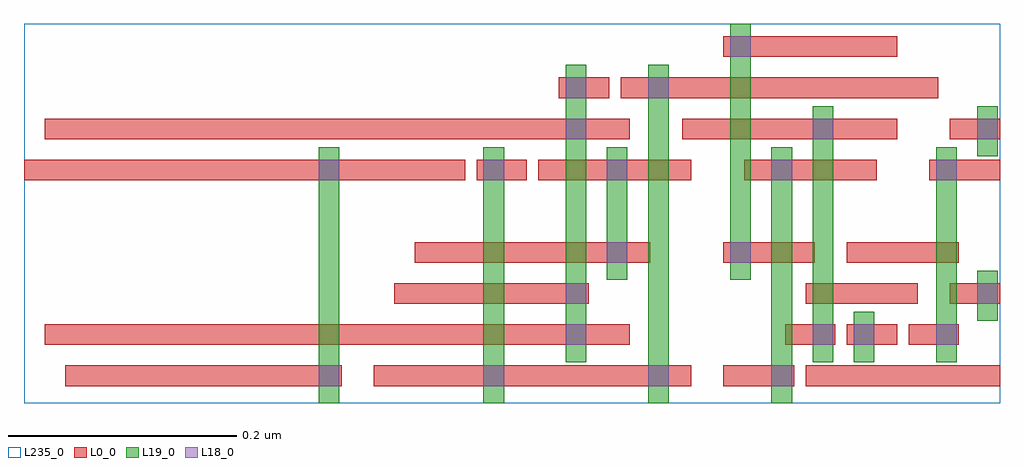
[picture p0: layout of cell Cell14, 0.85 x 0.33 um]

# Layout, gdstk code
import gdstk
lib = gdstk.Library(unit=1e-6, precision=2.5e-10)
def R(c, l, rs):  # rectangles x0, y0, x1, y1
    for r in rs: c.add(gdstk.rectangle(r[:2], r[2:], *l))
def A(c, l, x, y, w, h, nx, ny, dx, dy):  # array of equal rectangles
    R(c, l, [(x+i*dx, y+j*dy, x+i*dx+w, y+j*dy+h) for i in range(nx) for j in range(ny)])
L0_0 = (0, 0)
L18_0 = (18, 0)
L19_0 = (19, 0)
L235_0 = (235, 0)

cell14 = lib.new_cell('Cell14')
A(cell14, L0_0, 0.67, 0.035, 0.044, 0.018, 3, 1, 0.054, 0)
R(cell14, L0_0, [(0.04,-0.001,0.282,0.017), (0.31,-0.001,0.588,0.017), (0.616,-0.001,0.678,0.017), (0.688,-0.001,0.858,0.017), (0.022,0.035,0.534,0.053), (0.328,0.071,0.498,0.089), (0.688,0.071,0.786,0.089), (0.814,0.071,0.858,0.089), (0.346,0.107,0.552,0.125), (0.616,0.107,0.696,0.125), (0.724,0.107,0.822,0.125), (0.004,0.179,0.39,0.197), (0.4,0.179,0.444,0.197), (0.454,0.179,0.588,0.197), (0.634,0.179,0.75,0.197), (0.796,0.179,0.858,0.197), (0.022,0.215,0.534,0.233), (0.58,0.215,0.768,0.233), (0.814,0.215,0.858,0.233), (0.472,0.251,0.516,0.269), (0.526,0.251,0.804,0.269), (0.616,0.287,0.768,0.305)])
A(cell14, L18_0, 0.262, -0.001, 0.018, 0.018, 3, 1, 0.144, 0)
A(cell14, L18_0, 0.514, 0.179, 0.018, 0.018, 3, 1, 0.144, 0)
R(cell14, L18_0, [(0.658,-0.001,0.676,0.017), (0.478,0.035,0.496,0.053), (0.694,0.035,0.712,0.053), (0.73,0.035,0.748,0.053), (0.802,0.035,0.82,0.053), (0.478,0.071,0.496,0.089), (0.838,0.071,0.856,0.089), (0.514,0.107,0.532,0.125), (0.622,0.107,0.64,0.125), (0.262,0.179,0.28,0.197), (0.406,0.179,0.424,0.197), (0.478,0.215,0.496,0.233), (0.694,0.215,0.712,0.233), (0.838,0.215,0.856,0.233), (0.478,0.251,0.496,0.269), (0.55,0.251,0.568,0.269), (0.622,0.287,0.64,0.305)])
R(cell14, L19_0, [(0.262,-0.016,0.28,0.208), (0.406,-0.016,0.424,0.208), (0.55,-0.016,0.568,0.28), (0.658,-0.016,0.676,0.208), (0.478,0.02,0.496,0.28), (0.694,0.02,0.712,0.244), (0.73,0.02,0.748,0.064), (0.802,0.02,0.82,0.208), (0.838,0.056,0.856,0.1), (0.514,0.092,0.532,0.208), (0.622,0.092,0.64,0.316), (0.838,0.2,0.856,0.244)])
R(cell14, L235_0, [(0.004,-0.016,0.858,0.316)])

lib.write_gds('Cell14.gds')
